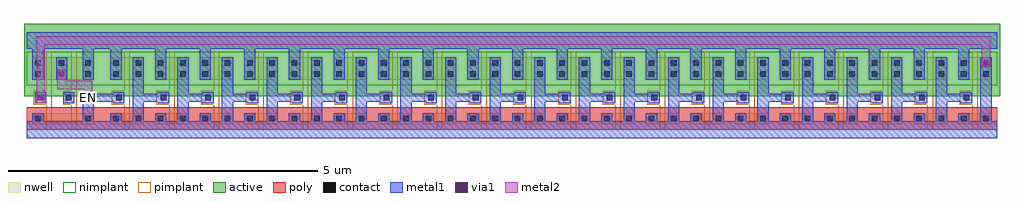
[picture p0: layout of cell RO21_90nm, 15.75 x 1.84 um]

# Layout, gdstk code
import gdstk
lib = gdstk.Library(unit=1e-6, precision=1e-09)
def R(c, l, rs):  # rectangles x0, y0, x1, y1
    for r in rs: c.add(gdstk.rectangle(r[:2], r[2:], *l))
def A(c, l, x, y, w, h, nx, ny, dx, dy):  # array of equal rectangles
    R(c, l, [(x+i*dx, y+j*dy, x+i*dx+w, y+j*dy+h) for i in range(nx) for j in range(ny)])
active = (1, 0)
nwell = (2, 0)
poly = (3, 0)
nimplant = (4, 0)
pimplant = (5, 0)
contact = (6, 0)
metal1 = (7, 0)
via1 = (8, 0)
metal2 = (9, 0)

ro21_90nm = lib.new_cell('RO21_90nm')
A(ro21_90nm, active, 1.215, 0.675, 0.81, 1.17, 20, 1, 0.72, 0)
R(ro21_90nm, active, [(-0.045,0.675,1.305,1.845)])
A(ro21_90nm, nwell, 1.35, 0.225, 0.54, 0.18, 20, 1, 0.72, 0)
A(ro21_90nm, nwell, 1.35, 0.945, 0.54, 0.36, 20, 1, 0.72, 0)
R(ro21_90nm, nwell, [(0.09,0.225,1.08,0.405), (0.09,0.945,1.08,1.305)])
A(ro21_90nm, poly, 1.26, 0.135, 0.72, 0.36, 20, 1, 0.72, 0)
R(ro21_90nm, poly, [(0,0.135,1.26,0.495)])
A(ro21_90nm, nimplant, 1.26, 0.855, 0.72, 0.54, 20, 1, 0.72, 0)
R(ro21_90nm, nimplant, [(0,0.855,1.26,1.395)])
A(ro21_90nm, pimplant, 1.575, 0.135, 0.09, 1.26, 20, 1, 0.72, 0)
A(ro21_90nm, pimplant, 1.373, 0.54, 0.225, 0.225, 20, 1, 0.72, 0)
R(ro21_90nm, pimplant, [(0.315,0.135,0.405,1.395), (0.72,0.135,0.81,1.395), (0.113,0.54,0.338,0.765), (0.585,0.54,0.81,0.765)])
A(ro21_90nm, contact, 1.395, 0.27, 0.09, 0.09, 40, 2, 0.36, 0.72)
A(ro21_90nm, contact, 1.44, 0.608, 0.09, 0.09, 20, 1, 0.72, 0)
A(ro21_90nm, contact, 1.395, 1.17, 0.09, 0.09, 40, 1, 0.36, 0)
R(ro21_90nm, contact, [(0.135,0.27,0.225,0.36), (0.945,0.27,1.035,0.36), (0.18,0.608,0.27,0.698), (0.63,0.608,0.72,0.698), (0.135,0.99,0.225,1.08), (0.518,0.99,0.608,1.08), (0.945,0.99,1.035,1.08), (0.135,1.17,0.225,1.26), (0.518,1.17,0.608,1.26), (0.945,1.17,1.035,1.26)])
A(ro21_90nm, metal1, 1.26, 0, 0.72, 0.27, 20, 2, 0.72, 1.44)
A(ro21_90nm, metal1, 1.35, 0, 0.18, 0.405, 20, 1, 0.72, 0)
A(ro21_90nm, metal1, 1.71, 0.225, 0.18, 1.08, 20, 1, 0.72, 0)
A(ro21_90nm, metal1, 1.395, 0.563, 0.18, 0.18, 20, 1, 0.72, 0)
A(ro21_90nm, metal1, 1.89, 0.585, 0.225, 0.135, 19, 1, 0.72, 0)
A(ro21_90nm, metal1, 1.35, 0.945, 0.18, 0.765, 20, 1, 0.72, 0)
R(ro21_90nm, metal1, [(0,0,1.26,0.27), (0.09,0,0.27,0.405), (0.9,0.225,1.08,0.72), (0.135,0.563,0.315,0.743), (0.585,0.563,0.765,0.743), (1.08,0.585,1.395,0.72), (0.09,0.945,0.27,1.71), (0.473,0.945,0.653,1.305), (0.9,0.945,1.08,1.71), (0,1.44,1.26,1.71)])
R(ro21_90nm, via1, [(0.945,0.585,1.035,0.675), (0.18,0.608,0.27,0.698), (0.518,0.99,0.608,1.08), (15.435,1.17,15.525,1.26)])
R(ro21_90nm, metal2, [(0.158,0.563,0.293,1.643), (0.923,0.563,1.058,0.923), (0.495,0.788,1.058,0.923), (0.495,0.788,0.63,1.103), (15.413,1.148,15.548,1.643), (0.158,1.508,15.548,1.643)])
ro21_90nm.add(gdstk.Label('EN', (0.99,0.653), layer=7, texttype=0))

lib.write_gds('RO21_90nm.gds')
